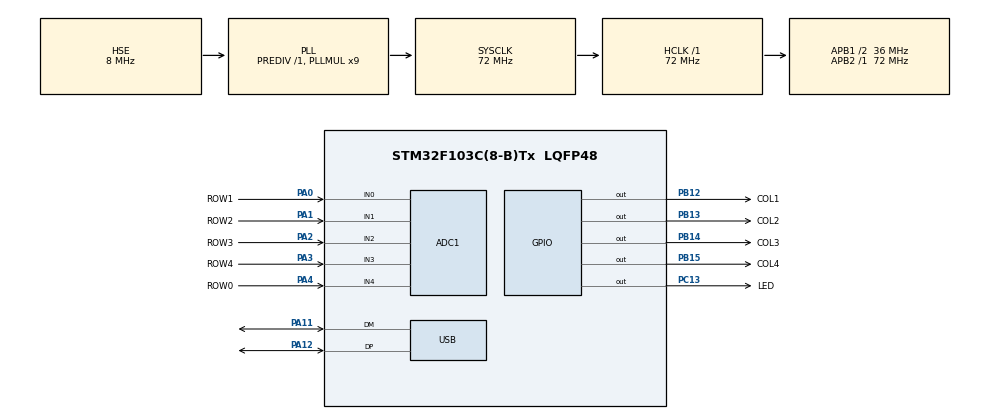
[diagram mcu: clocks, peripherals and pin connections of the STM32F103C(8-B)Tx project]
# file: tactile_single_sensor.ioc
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ADC1.Channel-0\#ChannelRegularConversion=ADC_CHANNEL_0
ADC1.ContinuousConvMode=DISABLE
ADC1.DataAlign=ADC_DATAALIGN_RIGHT
ADC1.DiscontinuousConvMode=DISABLE
ADC1.EnableAnalogWatchDog=false
ADC1.EnableRegularConversion=ENABLE
ADC1.ExternalTrigConv=ADC_SOFTWARE_START
ADC1.InjNumberOfConversion=0
ADC1.NbrOfConversion=1
ADC1.NbrOfConversionFlag=1
ADC1.Rank-0\#ChannelRegularConversion=1
ADC1.SamplingTime-0\#ChannelRegularConversion=ADC_SAMPLETIME_13CYCLES_5
ADC1.ScanConvMode=ADC_SCAN_DISABLE
ADC1.master=1
Mcu.Family=STM32F1
Mcu.Name=STM32F103C(8-B)Tx
Mcu.Package=LQFP48
NVIC.PriorityGroup=NVIC_PRIORITYGROUP_4
NVIC.USB_LP_CAN1_RX0_IRQn=true\:0\:0\:false\:false\:true\:false
PA0-WKUP.GPIO_Label=ROW1
PA0-WKUP.Signal=ADCx_IN0
PA1.GPIO_Label=ROW2
PA1.Signal=ADCx_IN1
PA11.Mode=Device
PA11.Signal=USB_DM
PA12.Mode=Device
PA12.Signal=USB_DP
PA13.Mode=Serial_Wire
PA13.Signal=SYS_JTMS-SWDIO
PA14.Mode=Serial_Wire
PA14.Signal=SYS_JTCK-SWCLK
PA2.GPIO_Label=ROW3
PA2.Signal=ADCx_IN2
PA3.GPIO_Label=ROW4
PA3.Signal=ADCx_IN3
PA4.GPIO_Label=ROW0
PA4.Signal=ADCx_IN4
PB12.GPIO_Label=COL1
PB12.Signal=GPIO_Output
PB13.GPIO_Label=COL2
PB13.Signal=GPIO_Output
PB14.GPIO_Label=COL3
PB14.Signal=GPIO_Output
PB15.GPIO_Label=COL4
PB15.Signal=GPIO_Output
PC13-TAMPER-RTC.GPIO_Label=LED
PC13-TAMPER-RTC.Signal=GPIO_Output
PD0-OSC_IN.Mode=HSE-External-Oscillator
PD0-OSC_IN.Signal=RCC_OSC_IN
PD1-OSC_OUT.Mode=HSE-External-Oscillator
PD1-OSC_OUT.Signal=RCC_OSC_OUT
ProjectManager.HeapSize=0x200
ProjectManager.StackSize=0x400
ProjectManager.TargetToolchain=TrueSTUDIO
RCC.ADCPresc=RCC_ADCPCLK2_DIV6
RCC.AHBFreq_Value=72000000
RCC.APB1CLKDivider=RCC_HCLK_DIV2
RCC.APB1Freq_Value=36000000
RCC.APB1TimFreq_Value=72000000
RCC.APB2Freq_Value=72000000
RCC.APB2TimFreq_Value=72000000
RCC.HCLKFreq_Value=72000000
RCC.PLLMUL=RCC_PLL_MUL9
RCC.SYSCLKFreq_VALUE=72000000
RCC.SYSCLKSource=RCC_SYSCLKSOURCE_PLLCLK
RCC.USBFreq_Value=48000000
RCC.USBPrescaler=RCC_USBCLKSOURCE_PLL_DIV1_5
SH.ADCx_IN0.0=ADC1_IN0,IN0
SH.ADCx_IN1.0=ADC1_IN1,IN1
SH.ADCx_IN2.0=ADC1_IN2,IN2
SH.ADCx_IN3.0=ADC1_IN3,IN3
SH.ADCx_IN4.0=ADC1_IN4,IN4
USB.ep0_mps=DEP0CTL_MPS_64
USB_DEVICE.CLASS_NAME_FS=CDC
USB_DEVICE.VirtualMode=Cdc
USB_DEVICE.VirtualModeFS=Cdc_FS
VP_USB_DEVICE_VS_USB_DEVICE_CDC_FS.Mode=CDC_FS
board=custom

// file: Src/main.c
/**
  ******************************************************************************
  * @file           : main.c
  * @brief          : Main program body
  ******************************************************************************
  * This notice applies to any and all portions of this file
  * that are not between comment pairs USER CODE BEGIN and
  * USER CODE END. Other portions of this file, whether
  * inserted by the user or by software development tools
  * are owned by their respective copyright owners.
  *
  * Copyright (c) 2019 STMicroelectronics International N.V.
  * All rights reserved.
  *
  * Redistribution and use in source and binary forms, with or without
  * modification, are permitted, provided that the following conditions are met:
  *
  * 1. Redistribution of source code must retain the above copyright notice,
  *    this list of conditions and the following disclaimer.
  * 2. Redistributions in binary form must reproduce the above copyright notice,
  *    this list of conditions and the following disclaimer in the documentation
  *    and/or other materials provided with the distribution.
  * 3. Neither the name of STMicroelectronics nor the names of other
  *    contributors to this software may be used to endorse or promote products
  *    derived from this software without specific written permission.
  * 4. This software, including modifications and/or derivative works of this
  *    software, must execute solely and exclusively on microcontroller or
  *    microprocessor devices manufactured by or for STMicroelectronics.
  * 5. Redistribution and use of this software other than as permitted under
  *    this license is void and will automatically terminate your rights under
  *    this license.
  *
  * THIS SOFTWARE IS PROVIDED BY STMICROELECTRONICS AND CONTRIBUTORS "AS IS"
  * AND ANY EXPRESS, IMPLIED OR STATUTORY WARRANTIES, INCLUDING, BUT NOT
  * LIMITED TO, THE IMPLIED WARRANTIES OF MERCHANTABILITY, FITNESS FOR A
  * PARTICULAR PURPOSE AND NON-INFRINGEMENT OF THIRD PARTY INTELLECTUAL PROPERTY
  * RIGHTS ARE DISCLAIMED TO THE FULLEST EXTENT PERMITTED BY LAW. IN NO EVENT
  * SHALL STMICROELECTRONICS OR CONTRIBUTORS BE LIABLE FOR ANY DIRECT, INDIRECT,
  * INCIDENTAL, SPECIAL, EXEMPLARY, OR CONSEQUENTIAL DAMAGES (INCLUDING, BUT NOT
  * LIMITED TO, PROCUREMENT OF SUBSTITUTE GOODS OR SERVICES; LOSS OF USE, DATA,
  * OR PROFITS; OR BUSINESS INTERRUPTION) HOWEVER CAUSED AND ON ANY THEORY OF
  * LIABILITY, WHETHER IN CONTRACT, STRICT LIABILITY, OR TORT (INCLUDING
  * NEGLIGENCE OR OTHERWISE) ARISING IN ANY WAY OUT OF THE USE OF THIS SOFTWARE,
  * EVEN IF ADVISED OF THE POSSIBILITY OF SUCH DAMAGE.
  *
  ******************************************************************************
  */
#include "main.h"
#include "stm32f1xx_hal.h"
#include "usb_device.h"

/* USER CODE BEGIN Includes */
#include "usbd_cdc_if.h"

/* USER CODE END Includes */

ADC_HandleTypeDef hadc1;

/* USER CODE BEGIN PV */
/* Private variables ---------------------------------------------------------*/
#define ST 0x24
#define ET 0x21
uint8_t usb_buffer[34];

/* USER CODE END PV */

void SystemClock_Config(void);
static void MX_GPIO_Init(void);
static void MX_ADC1_Init(void);

/* USER CODE BEGIN PFP */
/* Private function prototypes -----------------------------------------------*/

/* USER CODE END PFP */

/* USER CODE BEGIN 0 */
void ref_cols()
{
	HAL_GPIO_WritePin(GPIOB, COL1_Pin|COL2_Pin|COL3_Pin|COL4_Pin, GPIO_PIN_SET);
}
void select_col(uint8_t index)
{
	if(index == 0)
	{
		HAL_GPIO_WritePin(GPIOB, COL1_Pin, GPIO_PIN_RESET);
	}
	else if(index == 1)
	{
		HAL_GPIO_WritePin(GPIOB, COL2_Pin, GPIO_PIN_RESET);
	}
	else if(index == 2)
	{
		HAL_GPIO_WritePin(GPIOB, COL3_Pin, GPIO_PIN_RESET);
	}
	else if(index == 3)
	{
		HAL_GPIO_WritePin(GPIOB, COL4_Pin, GPIO_PIN_RESET);
	}
}
uint16_t read_adc(uint8_t index)
{
	ADC_ChannelConfTypeDef sConfig;
	if(index == 0)
		sConfig.Channel = ADC_CHANNEL_4;
	else if(index == 1)
		sConfig.Channel = ADC_CHANNEL_1;
	else if(index == 2)
			sConfig.Channel = ADC_CHANNEL_2;
	else if(index == 3)
			sConfig.Channel = ADC_CHANNEL_3;
	sConfig.Rank = ADC_REGULAR_RANK_1;
	sConfig.SamplingTime = ADC_SAMPLETIME_13CYCLES_5;
	if (HAL_ADC_ConfigChannel(&hadc1, &sConfig) != HAL_OK)
	{
		_Error_Handler(__FILE__, __LINE__);
	}

	HAL_ADC_Start(&hadc1);
	uint8_t ret = HAL_ADC_PollForConversion(&hadc1,1000);
	if(ret == HAL_OK)
	{
		uint16_t adcv = HAL_ADC_GetValue(&hadc1);
		return adcv;
	}
	else
		return -1;

}
void setup_init()
{
	ref_cols();
	usb_buffer[0] = ST;
	usb_buffer[33] = ET;
}
/* USER CODE END 0 */

int main(void)
{

  /* MCU Configuration----------------------------------------------------------*/

  /* Reset of all peripherals, Initializes the Flash interface and the Systick. */
  HAL_Init();

  /* Configure the system clock */
  SystemClock_Config();

  /* Initialize all configured peripherals */
  MX_GPIO_Init();
  MX_USB_DEVICE_Init();
  MX_ADC1_Init();
  /* USER CODE BEGIN 2 */
  //reset columns
  setup_init();
  uint8_t aux_taxel = 1;
  /* USER CODE END 2 */

  /* Infinite loop */
  while (1)
  {

  /* USER CODE BEGIN 3 */

	  //HAL_GPIO_WritePin(LED_GPIO_Port,LED_Pin,GPIO_PIN_RESET);
	  //HAL_Delay(100);
	  //HAL_GPIO_WritePin(LED_GPIO_Port,LED_Pin,GPIO_PIN_SET);
	  //HAL_Delay(100);

//	  ref_cols();
//	  select_col(2);
//	  uint16_t adcv = read_adc(1);
//	  uint8_t usbb[2] = {adcv>>8,adcv&0xff};
//	  uint8_t usbbv[2] = {128,240};
//	  CDC_Transmit_FS(usbb,2);
//	  HAL_Delay(50);

	  for(int i=0; i<4; i++)
	  {
		  select_col(i);
		  for(int j=0; j<4; j++)
		  {
			  uint16_t adcv = read_adc(j);

			  usb_buffer[aux_taxel] = adcv >> 8;
			  usb_buffer[aux_taxel+1] = adcv & 0xff;

			  aux_taxel += 2;

			  HAL_Delay(0.5);
		  }
		  //reset columns
		  ref_cols();
	  }
	  CDC_Transmit_FS(usb_buffer,34);
	  aux_taxel = 1;
  }
  /* USER CODE END 3 */

}

void SystemClock_Config(void)
{

  RCC_OscInitTypeDef RCC_OscInitStruct;
  RCC_ClkInitTypeDef RCC_ClkInitStruct;
  RCC_PeriphCLKInitTypeDef PeriphClkInit;

    /**Initializes the CPU, AHB and APB busses clocks
    */
  RCC_OscInitStruct.OscillatorType = RCC_OSCILLATORTYPE_HSE;
  RCC_OscInitStruct.HSEState = RCC_HSE_ON;
  RCC_OscInitStruct.HSEPredivValue = RCC_HSE_PREDIV_DIV1;
  RCC_OscInitStruct.HSIState = RCC_HSI_ON;
  RCC_OscInitStruct.PLL.PLLState = RCC_PLL_ON;
  RCC_OscInitStruct.PLL.PLLSource = RCC_PLLSOURCE_HSE;
  RCC_OscInitStruct.PLL.PLLMUL = RCC_PLL_MUL9;
  if (HAL_RCC_OscConfig(&RCC_OscInitStruct) != HAL_OK)
  {
    _Error_Handler(__FILE__, __LINE__);
  }

    /**Initializes the CPU, AHB and APB busses clocks
    */
  RCC_ClkInitStruct.ClockType = RCC_CLOCKTYPE_HCLK|RCC_CLOCKTYPE_SYSCLK
                              |RCC_CLOCKTYPE_PCLK1|RCC_CLOCKTYPE_PCLK2;
  RCC_ClkInitStruct.SYSCLKSource = RCC_SYSCLKSOURCE_PLLCLK;
  RCC_ClkInitStruct.AHBCLKDivider = RCC_SYSCLK_DIV1;
  RCC_ClkInitStruct.APB1CLKDivider = RCC_HCLK_DIV2;
  RCC_ClkInitStruct.APB2CLKDivider = RCC_HCLK_DIV1;

  if (HAL_RCC_ClockConfig(&RCC_ClkInitStruct, FLASH_LATENCY_2) != HAL_OK)
  {
    _Error_Handler(__FILE__, __LINE__);
  }

  PeriphClkInit.PeriphClockSelection = RCC_PERIPHCLK_ADC|RCC_PERIPHCLK_USB;
  PeriphClkInit.AdcClockSelection = RCC_ADCPCLK2_DIV6;
  PeriphClkInit.UsbClockSelection = RCC_USBCLKSOURCE_PLL_DIV1_5;
  if (HAL_RCCEx_PeriphCLKConfig(&PeriphClkInit) != HAL_OK)
  {
    _Error_Handler(__FILE__, __LINE__);
  }

    /**Configure the Systick interrupt time
    */
  HAL_SYSTICK_Config(HAL_RCC_GetHCLKFreq()/1000);

    /**Configure the Systick
    */
  HAL_SYSTICK_CLKSourceConfig(SYSTICK_CLKSOURCE_HCLK);

  /* SysTick_IRQn interrupt configuration */
  HAL_NVIC_SetPriority(SysTick_IRQn, 0, 0);
}

/* ADC1 init function */
static void MX_ADC1_Init(void)
{

  ADC_ChannelConfTypeDef sConfig;

    /**Common config
    */
  hadc1.Instance = ADC1;
  hadc1.Init.ScanConvMode = ADC_SCAN_DISABLE;
  hadc1.Init.ContinuousConvMode = DISABLE;
  hadc1.Init.DiscontinuousConvMode = DISABLE;
  hadc1.Init.ExternalTrigConv = ADC_SOFTWARE_START;
  hadc1.Init.DataAlign = ADC_DATAALIGN_RIGHT;
  hadc1.Init.NbrOfConversion = 1;
  if (HAL_ADC_Init(&hadc1) != HAL_OK)
  {
    _Error_Handler(__FILE__, __LINE__);
  }

    /**Configure Regular Channel
    */
  sConfig.Channel = ADC_CHANNEL_0;
  sConfig.Rank = ADC_REGULAR_RANK_1;
  sConfig.SamplingTime = ADC_SAMPLETIME_13CYCLES_5;
  if (HAL_ADC_ConfigChannel(&hadc1, &sConfig) != HAL_OK)
  {
    _Error_Handler(__FILE__, __LINE__);
  }

}

/** Configure pins as
        * Analog
        * Input
        * Output
        * EVENT_OUT
        * EXTI
*/
static void MX_GPIO_Init(void)
{

  GPIO_InitTypeDef GPIO_InitStruct;

  /* GPIO Ports Clock Enable */
  __HAL_RCC_GPIOC_CLK_ENABLE();
  __HAL_RCC_GPIOD_CLK_ENABLE();
  __HAL_RCC_GPIOA_CLK_ENABLE();
  __HAL_RCC_GPIOB_CLK_ENABLE();

  /*Configure GPIO pin Output Level */
  HAL_GPIO_WritePin(LED_GPIO_Port, LED_Pin, GPIO_PIN_RESET);

  /*Configure GPIO pin Output Level */
  HAL_GPIO_WritePin(GPIOB, COL1_Pin|COL2_Pin|COL3_Pin|COL4_Pin, GPIO_PIN_RESET);

  /*Configure GPIO pin : LED_Pin */
  GPIO_InitStruct.Pin = LED_Pin;
  GPIO_InitStruct.Mode = GPIO_MODE_OUTPUT_PP;
  GPIO_InitStruct.Pull = GPIO_NOPULL;
  GPIO_InitStruct.Speed = GPIO_SPEED_FREQ_LOW;
  HAL_GPIO_Init(LED_GPIO_Port, &GPIO_InitStruct);

  /*Configure GPIO pins : COL1_Pin COL2_Pin COL3_Pin COL4_Pin */
  GPIO_InitStruct.Pin = COL1_Pin|COL2_Pin|COL3_Pin|COL4_Pin;
  GPIO_InitStruct.Mode = GPIO_MODE_OUTPUT_PP;
  GPIO_InitStruct.Pull = GPIO_NOPULL;
  GPIO_InitStruct.Speed = GPIO_SPEED_FREQ_LOW;
  HAL_GPIO_Init(GPIOB, &GPIO_InitStruct);

}

void _Error_Handler(char *file, int line)
{
  while(1)
  {
  }
}

/************************ (C) COPYRIGHT STMicroelectronics *****END OF FILE****/
